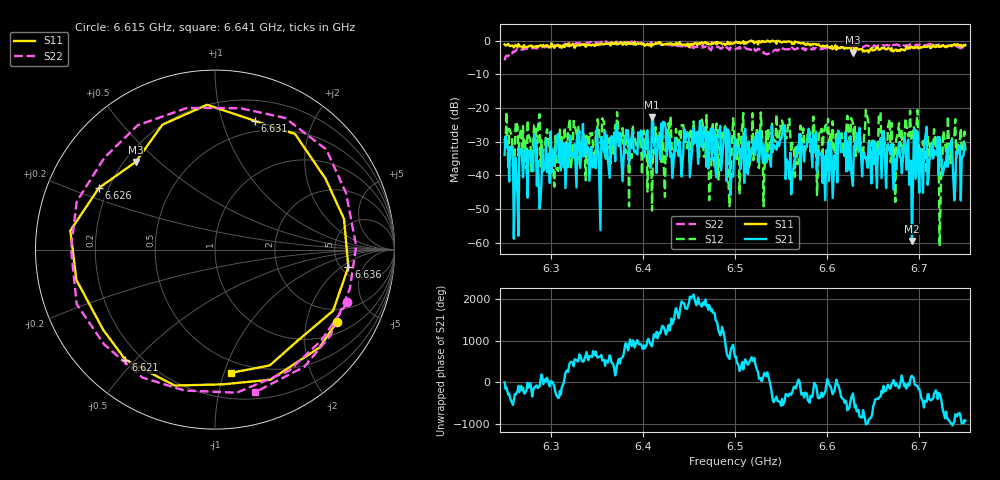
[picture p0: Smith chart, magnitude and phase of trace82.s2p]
# Hz S RI R 50
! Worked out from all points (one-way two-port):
!   401 points, 6.25 GHz to 6.75 GHz, reference 50 ohm
!   highest |S21| = -22.79 dB at 6.41 GHz (marker M1); lowest = -59.4 dB at 6.692 GHz (marker M2)
!   lowest |S11| = -3.6 dB at 6.628 GHz (marker M3), VSWR 4.86, Z = 12.2 + j21 ohm
!   |S11| at or under -10 dB: nowhere
!   |S22| runs from -5.9 to -0.2 dB; largest |S21 - S12| = 0.11
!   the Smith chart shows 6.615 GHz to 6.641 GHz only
!   S11 on the Smith chart (normalised r, x): 6.615 GHz: 1.42, -3.04; 6.621 GHz: 0.14, -0.47; 6.626 GHz: 0.16, +0.24; 6.631 GHz: 0.39, +1.28; 6.636 GHz: 5.80, -2.57; 6.641 GHz: 0.40, -1.05
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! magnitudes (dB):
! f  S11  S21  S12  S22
! 6.25 GHz  -1.1  -33.9  -29.2  -5.9
! 6.262 GHz  -1.2  -34.7  -24.0  -3.0
! 6.269 GHz  -1.9  -35.0  -33.6  -2.6
! 6.288 GHz  -1.5  -49.9  -21.8  -2.0
! 6.334 GHz  -1.1  -31.2  -32.7  -0.6
! 6.41 GHz  -1.1  -22.8  -50.4  -1.0
! 6.418 GHz  -0.4  -30.0  -27.0  -0.8
! 6.489 GHz  -1.3  -28.1  -24.9  -2.2
! 6.494 GHz  -1.1  -27.4  -49.1  -2.7
! 6.5 GHz  -0.6  -28.8  -34.9  -2.6
! 6.584 GHz  -1.0  -37.6  -28.8  -2.6
! 6.615 GHz  -2.1  -33.0  -28.7  -2.0
! 6.621 GHz  -2.0  -38.8  -25.2  -1.7
! 6.626 GHz  -2.7  -38.8  -23.0  -1.8
! 6.628 GHz  -3.6  -43.1  -24.5  -1.9
! 6.631 GHz  -2.5  -29.8  -34.3  -1.9
! 6.636 GHz  -2.5  -30.3  -30.1  -2.1
! 6.641 GHz  -3.2  -34.9  -26.9  -1.7
! 6.668 GHz  -2.4  -32.6  -23.2  -1.5
! 6.692 GHz  -1.9  -59.4  -29.7  -1.4
! 6.722 GHz  -1.8  -28.6  -61.0  -1.5
! 6.75 GHz  -1.3  -32.3  -28.4  -2.2
